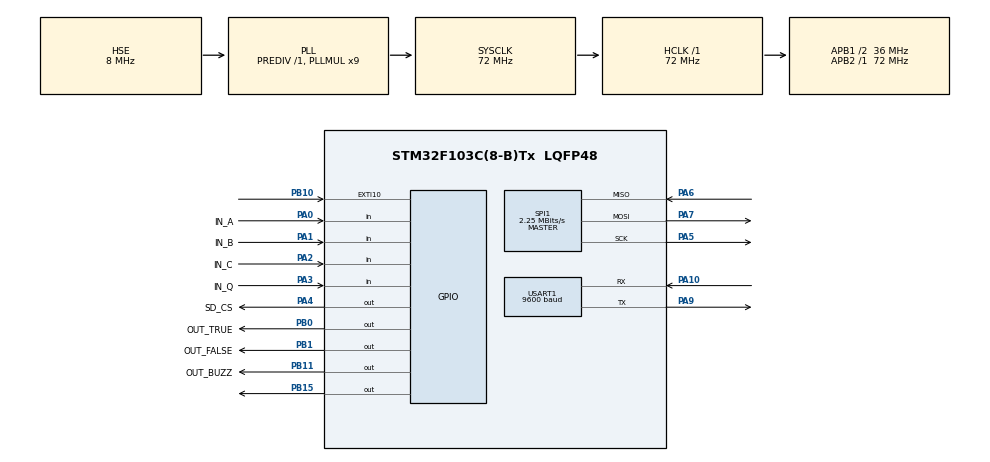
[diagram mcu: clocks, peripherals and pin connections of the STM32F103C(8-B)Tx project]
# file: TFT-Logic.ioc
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FATFS._MAX_SS=4096
FATFS._USE_LFN=1
Mcu.Family=STM32F1
Mcu.Name=STM32F103C(8-B)Tx
Mcu.Package=LQFP48
NVIC.EXTI15_10_IRQn=true\:0\:0\:false\:false\:true\:true\:true\:true
NVIC.PriorityGroup=NVIC_PRIORITYGROUP_4
NVIC.USART1_IRQn=true\:0\:0\:false\:false\:true\:true\:true\:true
PA0-WKUP.GPIO_Label=IN_A
PA0-WKUP.GPIO_PuPd=GPIO_PULLDOWN
PA0-WKUP.Signal=GPIO_Input
PA1.GPIO_Label=IN_B
PA1.GPIO_PuPd=GPIO_PULLDOWN
PA1.Signal=GPIO_Input
PA10.Mode=Asynchronous
PA10.Signal=USART1_RX
PA13.Mode=Serial_Wire
PA13.Signal=SYS_JTMS-SWDIO
PA14.Mode=Serial_Wire
PA14.Signal=SYS_JTCK-SWCLK
PA2.GPIO_Label=IN_C
PA2.GPIO_PuPd=GPIO_PULLDOWN
PA2.Signal=GPIO_Input
PA3.GPIO_Label=IN_Q
PA3.GPIO_PuPd=GPIO_PULLDOWN
PA3.Signal=GPIO_Input
PA4.GPIO_Label=SD_CS
PA4.Signal=GPIO_Output
PA5.Mode=Full_Duplex_Master
PA5.Signal=SPI1_SCK
PA6.Mode=Full_Duplex_Master
PA6.Signal=SPI1_MISO
PA7.Mode=Full_Duplex_Master
PA7.Signal=SPI1_MOSI
PA9.Mode=Asynchronous
PA9.Signal=USART1_TX
PB0.GPIO_Label=OUT_TRUE
PB0.GPIO_PuPd=GPIO_PULLDOWN
PB0.Signal=GPIO_Output
PB1.GPIO_Label=OUT_FALSE
PB1.GPIO_PuPd=GPIO_PULLDOWN
PB1.Signal=GPIO_Output
PB10.GPIO_PuPd=GPIO_PULLDOWN
PB10.Signal=GPXTI10
PB11.GPIO_Label=OUT_BUZZ
PB11.GPIO_PuPd=GPIO_PULLDOWN
PB11.Signal=GPIO_Output
PB15.GPIO_PuPd=GPIO_PULLDOWN
PB15.Signal=GPIO_Output
PD0-OSC_IN.Mode=HSE-External-Oscillator
PD0-OSC_IN.Signal=RCC_OSC_IN
PD1-OSC_OUT.Mode=HSE-External-Oscillator
PD1-OSC_OUT.Signal=RCC_OSC_OUT
ProjectManager.HeapSize=0x200
ProjectManager.StackSize=0x400
ProjectManager.TargetToolchain=MDK-ARM V5.32
RCC.AHBFreq_Value=72000000
RCC.APB1CLKDivider=RCC_HCLK_DIV2
RCC.APB1Freq_Value=36000000
RCC.APB1TimFreq_Value=72000000
RCC.APB2Freq_Value=72000000
RCC.APB2TimFreq_Value=72000000
RCC.HCLKFreq_Value=72000000
RCC.PLLMUL=RCC_PLL_MUL9
RCC.PLLSourceVirtual=RCC_PLLSOURCE_HSE
RCC.SYSCLKFreq_VALUE=72000000
RCC.SYSCLKSource=RCC_SYSCLKSOURCE_PLLCLK
RCC.USBFreq_Value=72000000
SPI1.BaudRatePrescaler=SPI_BAUDRATEPRESCALER_32
SPI1.CalculateBaudRate=2.25 MBits/s
SPI1.Direction=SPI_DIRECTION_2LINES
SPI1.Mode=SPI_MODE_MASTER
SPI1.VirtualType=VM_MASTER
USART1.BaudRate=9600
USART1.VirtualMode=VM_ASYNC
VP_FATFS_VS_Generic.Mode=User_defined
board=custom

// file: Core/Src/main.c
/* USER CODE BEGIN Header */
/**
  ******************************************************************************
  * @file           : main.c
  * @brief          : Main program body
  ******************************************************************************
  * @attention
  *
  * Copyright (c) 2022 STMicroelectronics.
  * All rights reserved.
  *
  * This software is licensed under terms that can be found in the LICENSE file
  * in the root directory of this software component.
  * If no LICENSE file comes with this software, it is provided AS-IS.
  *
  ******************************************************************************
  */
/* USER CODE END Header */
#include "main.h"
#include "fatfs.h"

/* USER CODE BEGIN Includes */
#include "stdio.h"
#include "string.h"
#include "stdlib.h"
#include "fatfs_sd.h"
/* USER CODE END Includes */

/* USER CODE BEGIN PD */
#define KIRI 3
#define TENGAH 4
#define KANAN 5
#define DEFAULT 99
#define OK 15
#define CLR 14
#define DEL 13

#define STEPEDIT 999999
#define STEPERROR 999998
#define STEPDELETE 999997

#define LEDFALSE_PORT GPIOB
#define LEDFALSE_PIN GPIO_PIN_1
#define LEDTRUE_PORT GPIOB
#define LEDTRUE_PIN GPIO_PIN_0
#define BUZZER_PORT GPIOB
#define BUZZER_PIN GPIO_PIN_11

/* USER CODE END PD */

 SPI_HandleTypeDef hspi1;

UART_HandleTypeDef huart1;

/* USER CODE BEGIN PV */
void HAL_GPIO_EXTI_Callback(uint16_t GPIO_Pin)
{
    //if(GPIO_Pin == GPIO_PIN_10)
			//NVIC_SystemReset();
}

/*
	PINOUT
	RX - A10
	TX - A9
	readA - A0
	readB - A1
	readC - A2
	readQ - A3
	LED FALSE - B1
	LED TRUE - B0
	BUZZER - B11
	RESET - B10
*/

uint8_t FOOTER[30] = {0xFF,0xFF,0xFF};
uint8_t Rx_Data[7];
int step = 0, stepQuestion = 0, stepEdit = 0, stepAdd = 0, stepDelete;
int button = 99;
int counter;
int correctAnswer;
int lastTBuzz;

int readA,readB,readC,readQ;
int answer;

//========== ADDING QUESTION ==========//
char buffA,buffB,buffC,buffQ;
char bufferQuestion[100];
int cntKey = 0;
int questionType;

//========== TAKING QUESTION ==========//
char questionList[100][30];
char inputList[100][30];
int inA[100],inB[100],inC[100],inQ[100],qType[100];
int j,totalQuestion,pointerQ,stepQ;
char data[10][30];

/* USER CODE END PV */

void SystemClock_Config(void);
static void MX_GPIO_Init(void);
static void MX_USART1_UART_Init(void);
static void MX_SPI1_Init(void);
/* USER CODE BEGIN PFP */
char inputKey(){
	if (button != 99){
		if (button == 3){
			button = 99;
			return '+';
		}
		if (button == 6){
			button = 99;
			return '*';
		}
		if (button == 7){
			button = 99;
			return '\'';
		}
		if (button == 8){
			button = 99;
			return '=';
		}
		if (button == 9){
			button = 99;
			return 'Q';
		}
		if (button == 10){
			button = 99;
			return 'A';
		}
		if (button == 11){
			button = 99;
			return 'B';
		}
		if (button == 12){
			button = 99;
			return 'C';
		}
		if (button == 19){
			button = 99;
			return '1';
		}
		if (button == 18){
			button = 99;
			return '0';
		}
		if (button == 17){
			button = 99;
			return '(';
		}
		if (button == 16){
			button = 99;
			return ')';
		}
		if (button == 13){
			button = 99;
			return 13;
		}
		if (button == 14){
			button = 99;
			return 14;
		}
		if (button == 15){
			button = 99;
			return 15;
		}
		else {
			button = 99;
			return 99;
		}
	}
	return 99;
}

void HMISendText(char* ID, char* string){
	uint8_t buf[50];
	int len = sprintf((char *)buf,"%s.txt=\"%s\"", ID, string);
	HAL_UART_Transmit(&huart1, buf, len, 100);	//Kirim TX
	HAL_UART_Transmit(&huart1, FOOTER, 3, 100);	//Kirim TX
}

void HMISend(char* string){
	uint8_t buf[50];
	int len = sprintf((char *)buf,"%s", string);
	HAL_UART_Transmit(&huart1, buf, len, 100);	//Kirim TX
	HAL_UART_Transmit(&huart1, FOOTER, 3, 100);	//Kirim TX
}

void HMIClearText(){
	HMISendText("t0","");
	HMISendText("t1","");
}

void HAL_UART_RxCpltCallback(UART_HandleTypeDef *huart){
	if (huart->Instance == USART1) {  //current UART
		button = Rx_Data[2];
		HAL_UART_Receive_IT(huart, Rx_Data, 7);
	}
}

void readInput(){
		readA = HAL_GPIO_ReadPin(GPIOA,GPIO_PIN_0);
		readB = HAL_GPIO_ReadPin(GPIOA,GPIO_PIN_1);
		readC = HAL_GPIO_ReadPin(GPIOA,GPIO_PIN_2);
		readQ = HAL_GPIO_ReadPin(GPIOA,GPIO_PIN_3);
}

uint8_t qAB(int desA, int desB, int desQ){
	if (readA == desA && readB == desB && readQ == desQ)
		return 1;
	else
		return 0;
}

uint8_t qABC(int desA, int desB, int desC, int desQ){
	if (readA == desA && readB == desB && readC == desC && readQ == desQ)
		return 1;
	else
		return 0;
}

void displayqAB(int A, int B, int Q, char* question, char* input){
	if (step == 0){
		step++;
	}
	else if (step == 1) {
			readInput();
			HMISendText("t0",question);
			HMISendText("t1",input);
			HMISendText("b1","Answer");
			if (button == 4){
				 button = DEFAULT;
				 answer = qAB(A,B,Q);
				 HMIClearText();
				 if (answer){
					 HMISendText("t0","Correct Answer");
					 correctAnswer++;
					 HAL_GPIO_WritePin(LEDFALSE_PORT,LEDFALSE_PIN,GPIO_PIN_RESET);
					 HAL_GPIO_WritePin(LEDTRUE_PORT,LEDTRUE_PIN,GPIO_PIN_SET);
					 HAL_GPIO_WritePin(BUZZER_PORT,BUZZER_PIN,GPIO_PIN_RESET);
				 }
				 else {
					 HMISendText("t0","Incorrect Answer");
					 HAL_GPIO_WritePin(LEDFALSE_PORT,LEDFALSE_PIN,GPIO_PIN_SET);
					 HAL_GPIO_WritePin(LEDTRUE_PORT,LEDTRUE_PIN,GPIO_PIN_RESET);
					 lastTBuzz = HAL_GetTick();
				 }
				 HMISendText("b1","Next");
				 step++;
			}
		}
		else if (step == 2){
			if (HAL_GetTick() - lastTBuzz < 1000)
				HAL_GPIO_WritePin(BUZZER_PORT,BUZZER_PIN,GPIO_PIN_SET);
			else HAL_GPIO_WritePin(BUZZER_PORT,BUZZER_PIN,GPIO_PIN_RESET);

			if (button == 4){
				HAL_GPIO_WritePin(LEDFALSE_PORT,LEDFALSE_PIN,GPIO_PIN_RESET);
				HAL_GPIO_WritePin(LEDTRUE_PORT,LEDTRUE_PIN,GPIO_PIN_RESET);
				HAL_GPIO_WritePin(BUZZER_PORT,BUZZER_PIN,GPIO_PIN_RESET);
				HMIClearText();
				button = DEFAULT;
				pointerQ++;
				step = 0;
			}
		}
}

void displayqABC(int A, int B, int C, int Q, char* question, char* input){
		if (step == 0){
			step++;
		}
		else if (step == 1) {
			readInput();
			HMISendText("t0",question);
			HMISendText("t1",input);
			HMISendText("b1","Answer");
			if (button == 4){
				 button = DEFAULT;
				 answer = qABC(A,B,C,Q);
				 HMIClearText();
				 if (answer){
					 HMISendText("t0","Correct Answer");
					 correctAnswer++;
					 HAL_GPIO_WritePin(LEDFALSE_PORT,LEDFALSE_PIN,GPIO_PIN_RESET);
					 HAL_GPIO_WritePin(LEDTRUE_PORT,LEDTRUE_PIN,GPIO_PIN_SET);
					 HAL_GPIO_WritePin(BUZZER_PORT,BUZZER_PIN,GPIO_PIN_RESET);
				 }
				 else {
					 HMISendText("t0","Incorrect Answer");
					 HAL_GPIO_WritePin(LEDFALSE_PORT,LEDFALSE_PIN,GPIO_PIN_SET);
					 HAL_GPIO_WritePin(LEDTRUE_PORT,LEDTRUE_PIN,GPIO_PIN_RESET);
					 lastTBuzz = HAL_GetTick();
				 }
				 HMISendText("b1","Next");
				 step++;
			}
		}
		else if (step == 2){
			if (HAL_GetTick() - lastTBuzz < 1000)
				HAL_GPIO_WritePin(BUZZER_PORT,BUZZER_PIN,GPIO_PIN_SET);
			else HAL_GPIO_WritePin(BUZZER_PORT,BUZZER_PIN,GPIO_PIN_RESET);

			if (button == 4){
				HAL_GPIO_WritePin(LEDFALSE_PORT,LEDFALSE_PIN,GPIO_PIN_RESET);
				HAL_GPIO_WritePin(LEDTRUE_PORT,LEDTRUE_PIN,GPIO_PIN_RESET);
				HAL_GPIO_WritePin(BUZZER_PORT,BUZZER_PIN,GPIO_PIN_RESET);
				HMIClearText();
				button = DEFAULT;
				pointerQ++;
				step = 0;
			}
		}
}

void displayScore(){
	if (step == 0){
		char buf[50];
		sprintf(buf,"Score = %d",correctAnswer);
		HMISendText("t0",buf);
		sprintf(buf,"Total %d Question",totalQuestion);
		HMISendText("t1",buf);
		HMISendText("b1","Restart");
		step++;
	}
	else if (step == 1){
		if (button == 4){
				button = DEFAULT;
				HMISend("vis b0,1");
				HMISend("vis b1,1");
				HMISend("vis b2,0");
				HMISendText("t0","Press Start to Begin");
				HMISendText("t1","");
				HMISendText("b0","Edit");
				HMISendText("b1","Start");
				correctAnswer = 0;
				stepQuestion= 0;
				step = 0;
			}
	}
}

int SPlast, SPnow, SLen;
uint8_t flagSDError;

FATFS fs;  // file system
FIL fil; // File
FILINFO fno;
FRESULT fresult,fmount;  // result
UINT br, bw;  // File read/write count

/**** capacity related *****/
FATFS *pfs;
DWORD fre_clust;
uint32_t total, free_space;

#define BUFFER_SIZE 128
char buffer[BUFFER_SIZE];  // to store strings..
char bufferX[100];

int bufsize (char *buf)
{
	int i=0;
	while (*buf++ != '\0') i++;
	return i;
}

void clear_buffer (void)
{
	for (int i=0; i<BUFFER_SIZE; i++) buffer[i] = '\0';
}
/* USER CODE END PFP */

int main(void)
{

  /* MCU Configuration--------------------------------------------------------*/

  /* Reset of all peripherals, Initializes the Flash interface and the Systick. */
  HAL_Init();

  /* USER CODE BEGIN Init */
	HAL_Delay(1000);

  /* USER CODE END Init */

  /* Configure the system clock */
  SystemClock_Config();

  /* Initialize all configured peripherals */
  MX_GPIO_Init();
  MX_USART1_UART_Init();
  MX_SPI1_Init();
  MX_FATFS_Init();
  /* USER CODE BEGIN 2 */
	HAL_Delay(50);
	HAL_GPIO_WritePin(GPIOB,GPIO_PIN_13,GPIO_PIN_RESET);
	HAL_GPIO_WritePin(LEDFALSE_PORT,LEDFALSE_PIN,GPIO_PIN_RESET);
	HAL_GPIO_WritePin(LEDTRUE_PORT,LEDTRUE_PIN,GPIO_PIN_RESET);
	HAL_GPIO_WritePin(BUZZER_PORT,BUZZER_PIN,GPIO_PIN_RESET);
	HAL_Delay(200);
	HAL_GPIO_WritePin(LEDFALSE_PORT,LEDFALSE_PIN,GPIO_PIN_SET);
	HAL_GPIO_WritePin(LEDTRUE_PORT,LEDTRUE_PIN,GPIO_PIN_SET);
	HAL_GPIO_WritePin(BUZZER_PORT,BUZZER_PIN,GPIO_PIN_SET);
	HAL_Delay(200);
	HAL_GPIO_WritePin(LEDFALSE_PORT,LEDFALSE_PIN,GPIO_PIN_RESET);
	HAL_GPIO_WritePin(LEDTRUE_PORT,LEDTRUE_PIN,GPIO_PIN_RESET);
	HAL_GPIO_WritePin(BUZZER_PORT,BUZZER_PIN,GPIO_PIN_RESET);
	HAL_Delay(200);

	//HAL_Delay(3000);
	//HAL_Delay(4000);
	HMISend("page 0");

	HMISend("vis b0,0");
	HMISend("vis b1,0");
	HMISend("vis b2,0");
	HMISendText("t0","Mounting SD Card...");
	HAL_Delay(100);

	fresult = f_mount(&fs, "/", 1); //fatfs

	//== Test Drive Delete ==//
	/*
	int SPlast, SPnow, SLen;

	fresult = f_open(&fil, "testdrive.txt", FA_READ | FA_OPEN_ALWAYS | FA_WRITE);

	//Pada Pointer 0, Tidak Membaca soal

	SPlast = f_tell(&fil);
	f_gets(buffer, BUFFER_SIZE, &fil);
	SPnow = f_tell(&fil);

	//Pada Pointer 1, Membaca Soal 1
	SPlast = f_tell(&fil);
	f_gets(buffer, BUFFER_SIZE, &fil);
	SPnow = f_tell(&fil);

	//Delete Happening
	f_read(&fil,buffer,1000,&br);
	f_lseek(&fil,SPlast);
	f_puts(buffer,&fil);
	f_truncate(&fil);

	f_close(&fil);
	HAL_Delay(100000);
	*/
	//======================//

	if (fresult != FR_OK){
		HMISendText("t0","SD CARD Cant Detect");
	}
	else {
    fresult = f_open(&fil, "soal.txt", FA_OPEN_ALWAYS | FA_READ | FA_WRITE);
		if (fresult == FR_OK){
			HMISendText("t0","SD CARD Mounted...");
			fmount = fresult;
			f_close(&fil);
		}
		else if (fresult != FR_OK){
			HMISendText("t0","Cant Open File...");
		}
	}

	if (fresult == FR_OK){
		HMISend("vis b0,1");
		HMISend("vis b1,1");
		HMISend("vis b2,0");
		HMISendText("t0","Press Start to Begin");
		HMISendText("t1","");
		HMISendText("b0","Edit");
		HMISendText("b1","Start");
	}
	else {
		HMISend("vis b0,0");
		HMISend("vis b1,1");
		HMISend("vis b2,0");
		HMISendText("t1","");
		HMISendText("b1","Restart");
		stepQuestion = STEPERROR;
	}
	HAL_UART_Abort_IT(&huart1);
	HAL_UART_Receive_IT(&huart1,Rx_Data,7);
	HAL_Delay(100);

  /* USER CODE END 2 */

  /* Infinite loop */
  while (1)
  {

    /* USER CODE BEGIN 3 */
		if (HAL_GPIO_ReadPin(GPIOA,GPIO_PIN_3) == GPIO_PIN_SET)
			HAL_GPIO_WritePin(GPIOB,GPIO_PIN_15,GPIO_PIN_SET);
		else HAL_GPIO_WritePin(GPIOB,GPIO_PIN_15,GPIO_PIN_RESET);

		if (stepQuestion == 0){ //Inisialisasi
			if (button == KIRI){
				button = 99;
				HMISend("vis b0,1");
				HMISend("vis b1,1");
				HMISend("vis b2,1");
				HMISendText("t0","Editor Menu");
				HMISendText("t1","");
				HMISendText("b0","Back");
				HMISendText("b1","CLR SDCARD");
				HMISendText("b2","Add QST");
				stepQuestion = STEPEDIT;
				fresult = f_open(&fil, "soal.txt", FA_READ | FA_OPEN_ALWAYS | FA_WRITE);
			}
			else if (button == TENGAH){ //startQuestion
				button = 99;
				stepQuestion = 1;
				totalQuestion = 0;
				pointerQ = 0;
				for (int i=0; i<sizeof(inA)/4; ++i){
					inA[i] = 0;
					inB[i] = 0;
					inC[i] = 0;
					inQ[i] = 0;
					qType[i] = 0;
				}
				for (int i=0;i<sizeof(questionList)/4/30;i++)
					memset(questionList[i],0,strlen(questionList[i]));
				for (int i=0;i<sizeof(inputList)/4/30;i++)
					memset(inputList[i],0,strlen(inputList[i]));
				fresult = f_open(&fil, "soal.txt", FA_READ | FA_OPEN_ALWAYS);

				HMISend("vis b0,0");
				HMISend("vis b1,1");
				HMISend("vis b2,0");
				HMISendText("t0","Total Question");
				HMISendText("t1","");
				HMISendText("b1","Start");
			}
		}
		else if (stepQuestion == 1) {
				f_gets(buffer, BUFFER_SIZE, &fil);
				for (int i=0;i<sizeof(data)/4/30;i++)
					memset(data[i],0,strlen(data[i]));
				j = 0;
				for(int i=0;i<strlen(buffer);i++){
					if (buffer[i] == ';') {
						j++;
						sprintf(data[j],"");
					}
					else {
						sprintf(data[j],"%s%c",data[j],buffer[i]);
						//strcat(data[j], &buffer[i]);
					}
				}
				sprintf(bufferX,"%d",atoi(data[0]));
				HMISendText("t1",bufferX);

				qType[totalQuestion] = atoi(data[0]);
				if (qType[totalQuestion] == 0) { //Untuk Tipe AB
					inA[totalQuestion] = atoi(data[1]);
					inB[totalQuestion] = atoi(data[2]);
					inC[totalQuestion] = 0;
					inQ[totalQuestion] = atoi(data[3]);
					sprintf(questionList[totalQuestion],"%s",data[4]);
					sprintf(inputList[totalQuestion],"%s",data[5]);
				}
				else if (qType[totalQuestion] == 1) { //Untuk Tipe ABC
						inA[totalQuestion] = atoi(data[1]);
						inB[totalQuestion] = atoi(data[2]);
						inC[totalQuestion] = atoi(data[3]);
						inQ[totalQuestion] = atoi(data[4]);
						sprintf(questionList[totalQuestion],"%s",data[5]);
						sprintf(inputList[totalQuestion],"%s",data[6]);
				}
				if (f_size(&fil) != 0)
					totalQuestion++;

				if (f_eof(&fil) != 0) {
					sprintf(bufferX,"%d",totalQuestion);
					f_close(&fil);
					if (totalQuestion == 0) {
						stepQuestion = 0;
						HMISend("vis b0,1");
						HMISend("vis b1,1");
						HMISend("vis b2,0");
						HMISendText("t0","Cant Start");
						HMISendText("t1","Please Input Question");
						HMISendText("b0","Edit");
						HMISendText("b1","Start");
					}
					else{
						stepQuestion = 2;
						HMISendText("t1",bufferX);
						HMISendText("b1","Start");
					}
				}
		}
		else if (stepQuestion == 2){
			if (button == TENGAH){
				button = 99;
				pointerQ = 0;
				stepQ = 0;
				stepQuestion = 3;
			}
		}
		else if (stepQuestion == 3){
			if (pointerQ == totalQuestion)
				displayScore();
			else {
				if (qType[pointerQ] == 0)
					displayqAB(inA[pointerQ],inB[pointerQ],inQ[pointerQ],questionList[pointerQ],inputList[pointerQ]);
				else if (qType[pointerQ] == 1)
					displayqABC(inA[pointerQ],inB[pointerQ],inC[pointerQ],inQ[pointerQ],questionList[pointerQ],inputList[pointerQ]);
			}
		}
		else if (stepQuestion == STEPEDIT){
			if (stepEdit == 0) { //INIT
				if (button == KIRI) { //Back
					button = 99;
					stepQuestion = 0;
					f_close(&fil);

					HMISend("vis b0,1");
					HMISend("vis b1,1");
					HMISend("vis b2,0");
					HMISendText("t0","Press Start to Begin");
					HMISendText("t1","");
					HMISendText("b0","Edit");
					HMISendText("b1","Start");
				}
				else if (button == TENGAH) { //Clear SD
					button = 99;
					stepEdit = 0;
					stepDelete = 0;
					stepQuestion = STEPDELETE;

					HMISend("vis b0,1");
					HMISend("vis b1,1");
					HMISend("vis b2,1");
					HMISendText("t0","Choose Delete Mode");
					HMISendText("t1","");
					HMISendText("b0","Cancel");
					HMISendText("b1","ClearOne");
					HMISendText("b2","ClearAll");
				}
				else if (button == KANAN) { //Add SD
					button = 99;
					stepEdit = 1;
					HMISend("vis b0,1");
					HMISend("vis b1,1");
					HMISend("vis b2,1");
					HMISendText("t0","Choose Question Type");
					HMISendText("t1","");
					HMISendText("b0","Back");
					HMISendText("b1","AB");
					HMISendText("b2","ABC");
				}
			}
			else if (stepEdit == 1){//ADD Question
				if (button == KIRI){
					stepEdit = 0;
					button = 99;
					HMISend("vis b0,1");
					HMISend("vis b1,1");
					HMISend("vis b2,1");
					HMISendText("t0","Editor Menu");
					HMISendText("t1","");
					HMISendText("b0","Back");
					HMISendText("b1","CLR SDCARD");
					HMISendText("b2","Add QST");
				}
				else if (button == TENGAH){
					stepEdit = 2;
					button = 99;
					questionType = 0;
					HMISend("vis b0,0");
					HMISend("vis b1,1");
					HMISend("vis b2,0");
					HMISendText("t0","Input Question String");
					HMISendText("t1","Ex: Q=A+B");
					HMISendText("b1","Next");
				}
				else if (button == KANAN){
					stepEdit = 2;
					button = 99;
					questionType = 1;
					//HMISend("page 2");
					//HMISendText("t0","Input Question String");
					HMISend("vis b0,0");
					HMISend("vis b1,1");
					HMISend("vis b2,0");
					HMISendText("t0","Input Question String");
					HMISendText("t1","Ex: Q=A+(B*C)'");
					HMISendText("b1","Next");
				}
			}
			else if (stepEdit == 2){
			 if (button == TENGAH){
					stepEdit = 3;
					button = 99;
					HMISend("page 2");
					HMISendText("t0","Input Question String");
					memset(bufferQuestion,0,strlen(bufferQuestion));
					cntKey = 0;
				}
			}
			else if (stepEdit == 3){
				char key = inputKey();
				if (key != 99 && key != CLR && key != DEL && key != OK){
					bufferQuestion[cntKey] = key;
					cntKey++;
				}
				if (key == CLR){
					cntKey = 0;
					memset(bufferQuestion,0,strlen(bufferQuestion));
				}
				if (key == DEL){
					if (cntKey != 0)
						cntKey--;
					bufferQuestion[cntKey] = 0;
				}
				if (key != 99)
					HMISendText("t1",bufferQuestion);
				if (key == OK){
					HMISendText("t0","Input A Value (0/1)");
					HMISendText("t1","0");
					buffA = 0;
					stepEdit = 4;
				}
			}
			else if (stepEdit == 4){
				char key = inputKey();
				if (key == '1'){
					buffA = 1;
					HMISendText("t1","1");
				}
				if (key == '0'){
					buffA = 0;
					HMISendText("t1","0");
				}
				if (key == OK){
					HMISendText("t0","Input B Value (0/1)");
					HMISendText("t1","0");
					buffB = 0;
					stepEdit = 5;
				}
			}
			else if (stepEdit == 5){
				char key = inputKey();
				if (key == '1'){
					buffB = 1;
					HMISendText("t1","1");
				}
				if (key == '0'){
					buffB = 0;
					HMISendText("t1","0");
				}
				if (key == OK){
					if (questionType == 0){
						HMISendText("t0","Input Q Value (0/1)");
						HMISendText("t1","0");
						stepEdit = 7;
					}
					else if (questionType == 1){
						HMISendText("t0","Input C Value (0/1)");
						HMISendText("t1","0");
						stepEdit = 6;
						buffC = 0;
					}
				}
			}
			else if (stepEdit == 6){
				char key = inputKey();
				if (key == '1'){
					buffC = 1;
					HMISendText("t1","1");
				}
				if (key == '0'){
					buffC = 0;
					HMISendText("t1","0");
				}
				if (key == OK){
					HMISendText("t0","Input Q Value (0/1)");
					HMISendText("t1","0");
					buffQ = 0;
					stepEdit = 7;
				}
			}
			else if (stepEdit == 7){
				char key = inputKey();
				if (key == '1'){
					buffQ = 1;
					HMISendText("t1","1");
				}
				if (key == '0'){
					buffQ = 0;
					HMISendText("t1","0");
				}
				if (key == OK){
					HMISendText("t0","Review the Question");
					HMISendText("t1","Press OK to Continue");
					stepEdit = 8;
				}
			}
			else if (stepEdit == 8){
				char key = inputKey();
				if (key == OK){
					if (questionType == 0)
						sprintf(bufferX,"A=%d,B=%d,Q=%d",buffA,buffB,buffQ);
					else
						sprintf(bufferX,"A=%d,B=%d,C=%d,Q=%d",buffA,buffB,buffC,buffQ);
					HMISendText("t0",bufferQuestion);
					HAL_Delay(5);
					HMISendText("t1",bufferX);
					stepEdit = 9;
				}
			}
			else if (stepEdit == 9){
				char key = inputKey();
				if (key == OK){
					fresult = f_lseek(&fil, f_size(&fil));

					if (questionType == 0){ //0;1;1;1;Q=A+B;A=0,B=0;
						if ((f_size(&fil) != 0))
							sprintf(buffer,"\n%d;%d;%d;%d;%s;A=%d,B=%d;",questionType,buffA,buffB,buffQ,bufferQuestion,buffA,buffB);
						else sprintf(buffer,"%d;%d;%d;%d;%s;A=%d,B=%d;",questionType,buffA,buffB,buffQ,bufferQuestion,buffA,buffB);
					}
					else if (questionType == 1){
						if ((f_size(&fil) != 0))
							sprintf(buffer,"\n%d;%d;%d;%d;%d;%s;A=%d,B=%d,C=%d;",questionType,buffA,buffB,buffC,buffQ,bufferQuestion,buffA,buffB,buffC);
						else sprintf(buffer,"%d;%d;%d;%d;%d;%s;A=%d,B=%d,C=%d;",questionType,buffA,buffB,buffC,buffQ,bufferQuestion,buffA,buffB,buffC);
					}

					fresult = f_write(&fil, buffer, bufsize(buffer), &bw);
					if (fresult == FR_OK){
						HMISendText("t0","Done Writing to SDCard");
						HMISendText("t1",buffer);
						f_close(&fil);
						fresult = f_open(&fil, "soal.txt", FA_READ | FA_OPEN_ALWAYS | FA_WRITE);
					}
					else {
						HMISendText("t0","Cant Write to SDCard");
						HMISendText("t1","Press OK to Restart");
					}
					stepEdit = 10;
				}
			}
			else if (stepEdit == 10){
				char key = inputKey();
				if (key == OK){
					if (fresult == FR_OK){
						HMISend("page 0");
						HMISend("vis b1,1");
						HMISend("vis b2,1");
						HMISend("vis b2,1");
						HMISendText("t0","Editor Menu");
						HMISendText("t1","");
						HMISendText("b0","Back");
						HMISendText("b1","Clear QST");
						HMISendText("b2","Add QST");
						stepEdit = 0;
					}
					else NVIC_SystemReset();
				}
			}
		}
		else if (stepQuestion == STEPDELETE){
			if (stepDelete == 0){
				if (button == KIRI) { //Back
						button = 99;
						stepQuestion = 0;
						f_close(&fil);

						HMISend("vis b0,1");
						HMISend("vis b1,1");
						HMISend("vis b2,0");
						HMISendText("t0","Press Start to Begin");
						HMISendText("t1","");
						HMISendText("b0","Edit");
						HMISendText("b1","Start");
					}
				else if (button == TENGAH){
						button = 99;
						if (f_eof(&fil) == 1){
							stepQuestion = 0;
							f_close(&fil);

							HMISend("vis b0,1");
							HMISend("vis b1,1");
							HMISend("vis b2,0");
							HMISendText("t0","File Empty");
							HMISendText("t1","");
							HMISendText("b0","Edit");
							HMISendText("b1","Start");
						}
						else {
							stepDelete = 1;
							SPlast = f_tell(&fil);
							f_gets(buffer, BUFFER_SIZE, &fil);
							SPnow = f_tell(&fil);

							for (int i=0;i<sizeof(data)/4/30;i++)
								memset(data[i],0,strlen(data[i]));
							j = 0;
							for(int i=0;i<strlen(buffer);i++){
								if (buffer[i] == ';') {
									j++;
									sprintf(data[j],"");
								}
								else {
									sprintf(data[j],"%s%c",data[j],buffer[i]);
									//strcat(data[j], &buffer[i]);
								}
							}
							HMISend("vis b0,1");
							HMISend("vis b1,1");
							HMISend("vis b2,1");

							HMISendText("t0",data[4]);
							HMISendText("t1",data[5]);

							HMISendText("b0","Cancel");
							HMISendText("b1","Next");
							HMISendText("b2","Clear");
						}
				}
				else if (button == KANAN){
						button = 99;
						stepQuestion = 0;

						f_close(&fil);
						f_unlink("soal.txt");
						HMISend("vis b0,1");
						HMISend("vis b1,1");
						HMISend("vis b2,0");
						HMISendText("t0","SD Card Cleared");
						HMISendText("t1","Please Input Question");
						HMISendText("b0","Edit");
						HMISendText("b1","Start");
				}
			}
			else if (stepDelete == 1){
				if (button == KIRI) { //Back
						button = 99;
						stepDelete = 0;
						stepQuestion = 0;
						f_close(&fil);

						HMISend("vis b0,1");
						HMISend("vis b1,1");
						HMISend("vis b2,0");
						HMISendText("t0","Press Start to Begin");
						HMISendText("t1","");
						HMISendText("b0","Edit");
						HMISendText("b1","Start");
				}
				else if (button == TENGAH){
					button = 99;
					stepDelete = 1;
					SPlast = f_tell(&fil);
					f_gets(buffer, BUFFER_SIZE, &fil);
					SPnow = f_tell(&fil);

					if (strlen(buffer) != 0) {
						for (int i=0;i<sizeof(data)/4/30;i++)
							memset(data[i],0,strlen(data[i]));
						j = 0;
						for(int i=0;i<strlen(buffer);i++){
							if (buffer[i] == ';') {
								j++;
								sprintf(data[j],"");
							}
							else {
								sprintf(data[j],"%s%c",data[j],buffer[i]);
								//strcat(data[j], &buffer[i]);
							}
						}
						HMISend("vis b0,1");
						HMISend("vis b1,1");
						HMISend("vis b2,1");

						HMISendText("t0",data[4]);
						HMISendText("t1",data[5]);

						HMISendText("b0","Cancel");
						HMISendText("b1","Next");
						HMISendText("b2","Clear");
					}
					else {
						stepDelete = 0;
						stepQuestion = 0;
						f_close(&fil);

						HMISend("vis b0,1");
						HMISend("vis b1,1");
						HMISend("vis b2,0");
						HMISendText("t0","Press Start to Begin");
						HMISendText("t1","End of Question List");
						HMISendText("b0","Edit");
						HMISendText("b1","Start");
					}
				}
				else if (button == KANAN) {
					stepQuestion = 0;
					stepDelete = 0;

					if (f_eof(&fil) == 0){
						//HMISendText("t1","EOF 0");
						f_read(&fil,buffer,1000,&br);
						f_lseek(&fil,SPlast);
						f_puts(buffer,&fil);
						f_truncate(&fil);
						f_close(&fil);
					}
					else if (f_eof(&fil) == 1){
						//HMISendText("t1","EOF 1");
						f_lseek(&fil,SPlast);
						f_truncate(&fil);
						f_close(&fil);
					}

					HMISend("vis b0,1");
					HMISend("vis b1,1");
					HMISend("vis b2,0");
					HMISendText("t0","Press Start to Begin");
					HMISendText("t1","Question Cleared");
					HMISendText("b0","Edit");
					HMISendText("b1","Start");
				}

			}
		}
		else if (stepQuestion == STEPERROR){
				if (button == TENGAH) {
					NVIC_SystemReset();
				}
		}

		/*
		if (stepQuestion == 0){
			if (button == TENGAH){
				button = 99;
				stepQuestion++;
			}
		}
		//================== ADD THE QUESTION FROM HERE ====================//
		else if (stepQuestion == 1)
			displayqABC(1,1,1,1,"Q=A+B*C","A=1,B=1,C=1");
		else if (stepQuestion == 2)
			displayqAB(0,0,0,"Q=A+B","A=0,B=0");
		else if (stepQuestion == 3)
			displayqABC(1,0,0,0,"Q=A'+B+C","A=1,B=0,C=0");
		else if (stepQuestion == 4)
			displayqABC(1,1,1,0,"Q=(A*B)*C'","A=1,B=1,C=1");
		else if (stepQuestion == 5)
			displayqAB(0,0,1,"Q=(A+B)'","A=0,B=0");
		//==================================================================//
		else if (stepQuestion == 6)
			displayScore();
		*/

  }
  /* USER CODE END 3 */
}

void SystemClock_Config(void)
{
  RCC_OscInitTypeDef RCC_OscInitStruct = {0};
  RCC_ClkInitTypeDef RCC_ClkInitStruct = {0};

  /** Initializes the RCC Oscillators according to the specified parameters
  * in the RCC_OscInitTypeDef structure.
  */
  RCC_OscInitStruct.OscillatorType = RCC_OSCILLATORTYPE_HSE;
  RCC_OscInitStruct.HSEState = RCC_HSE_ON;
  RCC_OscInitStruct.HSEPredivValue = RCC_HSE_PREDIV_DIV1;
  RCC_OscInitStruct.HSIState = RCC_HSI_ON;
  RCC_OscInitStruct.PLL.PLLState = RCC_PLL_ON;
  RCC_OscInitStruct.PLL.PLLSource = RCC_PLLSOURCE_HSE;
  RCC_OscInitStruct.PLL.PLLMUL = RCC_PLL_MUL9;
  if (HAL_RCC_OscConfig(&RCC_OscInitStruct) != HAL_OK)
  {
    Error_Handler();
  }

  /** Initializes the CPU, AHB and APB buses clocks
  */
  RCC_ClkInitStruct.ClockType = RCC_CLOCKTYPE_HCLK|RCC_CLOCKTYPE_SYSCLK
                              |RCC_CLOCKTYPE_PCLK1|RCC_CLOCKTYPE_PCLK2;
  RCC_ClkInitStruct.SYSCLKSource = RCC_SYSCLKSOURCE_PLLCLK;
  RCC_ClkInitStruct.AHBCLKDivider = RCC_SYSCLK_DIV1;
  RCC_ClkInitStruct.APB1CLKDivider = RCC_HCLK_DIV2;
  RCC_ClkInitStruct.APB2CLKDivider = RCC_HCLK_DIV1;

  if (HAL_RCC_ClockConfig(&RCC_ClkInitStruct, FLASH_LATENCY_2) != HAL_OK)
  {
    Error_Handler();
  }
}

static void MX_SPI1_Init(void)
{

  /* SPI1 parameter configuration*/
  hspi1.Instance = SPI1;
  hspi1.Init.Mode = SPI_MODE_MASTER;
  hspi1.Init.Direction = SPI_DIRECTION_2LINES;
  hspi1.Init.DataSize = SPI_DATASIZE_8BIT;
  hspi1.Init.CLKPolarity = SPI_POLARITY_LOW;
  hspi1.Init.CLKPhase = SPI_PHASE_1EDGE;
  hspi1.Init.NSS = SPI_NSS_SOFT;
  hspi1.Init.BaudRatePrescaler = SPI_BAUDRATEPRESCALER_32;
  hspi1.Init.FirstBit = SPI_FIRSTBIT_MSB;
  hspi1.Init.TIMode = SPI_TIMODE_DISABLE;
  hspi1.Init.CRCCalculation = SPI_CRCCALCULATION_DISABLE;
  hspi1.Init.CRCPolynomial = 10;
  if (HAL_SPI_Init(&hspi1) != HAL_OK)
  {
    Error_Handler();
  }

}

static void MX_USART1_UART_Init(void)
{

  huart1.Instance = USART1;
  huart1.Init.BaudRate = 9600;
  huart1.Init.WordLength = UART_WORDLENGTH_8B;
  huart1.Init.StopBits = UART_STOPBITS_1;
  huart1.Init.Parity = UART_PARITY_NONE;
  huart1.Init.Mode = UART_MODE_TX_RX;
  huart1.Init.HwFlowCtl = UART_HWCONTROL_NONE;
  huart1.Init.OverSampling = UART_OVERSAMPLING_16;
  if (HAL_UART_Init(&huart1) != HAL_OK)
  {
    Error_Handler();
  }

}

static void MX_GPIO_Init(void)
{
  GPIO_InitTypeDef GPIO_InitStruct = {0};

  /* GPIO Ports Clock Enable */
  __HAL_RCC_GPIOD_CLK_ENABLE();
  __HAL_RCC_GPIOA_CLK_ENABLE();
  __HAL_RCC_GPIOB_CLK_ENABLE();

  /*Configure GPIO pin Output Level */
  HAL_GPIO_WritePin(SD_CS_GPIO_Port, SD_CS_Pin, GPIO_PIN_RESET);

  /*Configure GPIO pin Output Level */
  HAL_GPIO_WritePin(GPIOB, OUT_TRUE_Pin|OUT_FALSE_Pin|OUT_BUZZ_Pin|GPIO_PIN_15, GPIO_PIN_RESET);

  /*Configure GPIO pins : IN_A_Pin IN_B_Pin IN_C_Pin IN_Q_Pin */
  GPIO_InitStruct.Pin = IN_A_Pin|IN_B_Pin|IN_C_Pin|IN_Q_Pin;
  GPIO_InitStruct.Mode = GPIO_MODE_INPUT;
  GPIO_InitStruct.Pull = GPIO_PULLDOWN;
  HAL_GPIO_Init(GPIOA, &GPIO_InitStruct);

  /*Configure GPIO pin : SD_CS_Pin */
  GPIO_InitStruct.Pin = SD_CS_Pin;
  GPIO_InitStruct.Mode = GPIO_MODE_OUTPUT_PP;
  GPIO_InitStruct.Pull = GPIO_NOPULL;
  GPIO_InitStruct.Speed = GPIO_SPEED_FREQ_LOW;
  HAL_GPIO_Init(SD_CS_GPIO_Port, &GPIO_InitStruct);

  /*Configure GPIO pins : OUT_TRUE_Pin OUT_FALSE_Pin OUT_BUZZ_Pin PB15 */
  GPIO_InitStruct.Pin = OUT_TRUE_Pin|OUT_FALSE_Pin|OUT_BUZZ_Pin|GPIO_PIN_15;
  GPIO_InitStruct.Mode = GPIO_MODE_OUTPUT_PP;
  GPIO_InitStruct.Pull = GPIO_PULLDOWN;
  GPIO_InitStruct.Speed = GPIO_SPEED_FREQ_LOW;
  HAL_GPIO_Init(GPIOB, &GPIO_InitStruct);

  /*Configure GPIO pin : PB10 */
  GPIO_InitStruct.Pin = GPIO_PIN_10;
  GPIO_InitStruct.Mode = GPIO_MODE_IT_RISING;
  GPIO_InitStruct.Pull = GPIO_PULLDOWN;
  HAL_GPIO_Init(GPIOB, &GPIO_InitStruct);

  /* EXTI interrupt init*/
  HAL_NVIC_SetPriority(EXTI15_10_IRQn, 0, 0);
  HAL_NVIC_EnableIRQ(EXTI15_10_IRQn);

}

void Error_Handler(void)
{
  __disable_irq();
  while (1)
  {
  }
}
